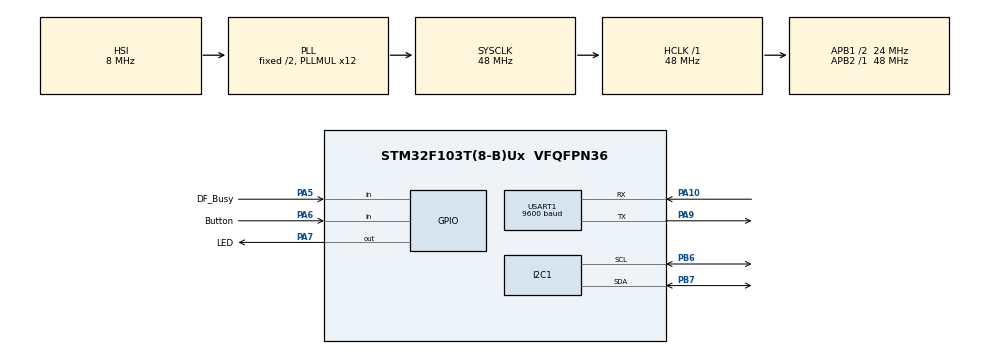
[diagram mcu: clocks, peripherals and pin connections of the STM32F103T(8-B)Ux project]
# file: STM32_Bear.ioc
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I2C1.I2C_Mode=I2C_Fast
Mcu.Family=STM32F1
Mcu.Name=STM32F103T(8-B)Ux
Mcu.Package=VFQFPN36
NVIC.I2C1_EV_IRQn=true\:0\:0\:false\:false\:true\:true\:true
NVIC.PriorityGroup=NVIC_PRIORITYGROUP_4
NVIC.USART1_IRQn=true\:0\:0\:false\:false\:true\:true\:true
PA10.Mode=Asynchronous
PA10.Signal=USART1_RX
PA13.Mode=Serial_Wire
PA13.Signal=SYS_JTMS-SWDIO
PA14.Mode=Serial_Wire
PA14.Signal=SYS_JTCK-SWCLK
PA5.GPIO_Label=DF_Busy
PA5.GPIO_PuPd=GPIO_PULLDOWN
PA5.Signal=GPIO_Input
PA6.GPIO_Label=Button
PA6.GPIO_PuPd=GPIO_PULLUP
PA6.Signal=GPIO_Input
PA7.GPIO_Label=LED
PA7.Signal=GPIO_Output
PA9.Mode=Asynchronous
PA9.Signal=USART1_TX
PB6.GPIO_Pu=GPIO_PULLUP
PB6.Mode=I2C
PB6.Signal=I2C1_SCL
PB7.GPIO_Pu=GPIO_PULLUP
PB7.Mode=I2C
PB7.Signal=I2C1_SDA
ProjectManager.HeapSize=0x200
ProjectManager.StackSize=0x400
ProjectManager.TargetToolchain=STM32CubeIDE
RCC.AHBFreq_Value=48000000
RCC.APB1CLKDivider=RCC_HCLK_DIV2
RCC.APB1Freq_Value=24000000
RCC.APB1TimFreq_Value=48000000
RCC.APB2Freq_Value=48000000
RCC.APB2TimFreq_Value=48000000
RCC.HCLKFreq_Value=48000000
RCC.PLLMUL=RCC_PLL_MUL12
RCC.SYSCLKFreq_VALUE=48000000
RCC.SYSCLKSource=RCC_SYSCLKSOURCE_PLLCLK
RCC.USBFreq_Value=48000000
USART1.BaudRate=9600
USART1.VirtualMode=VM_ASYNC
board=custom

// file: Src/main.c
/* USER CODE BEGIN Header */
/**
  ******************************************************************************
  * @file           : main.c
  * @brief          : Main program body
  ******************************************************************************
  * @attention
  *
  * <h2><center>&copy; Copyright (c) 2020 STMicroelectronics.
  * All rights reserved.</center></h2>
  *
  * This software component is licensed by ST under BSD 3-Clause license,
  * the "License"; You may not use this file except in compliance with the
  * License. You may obtain a copy of the License at:
  *                        opensource.org/licenses/BSD-3-Clause
  *
  ******************************************************************************
  */
/* USER CODE END Header */
#include "main.h"

/* USER CODE BEGIN Includes */
#include <BME280.h>
#include <stdint.h>
#include <stdio.h>
#include <string.h>
#include "I2Cdev.h"
#include "BMP085.h"
#include "dfplayer.h"
#include "stm32f1xx_it.h"
#include "bmp280.h"
#include "FLASH_PAGE_F1.h"
/* USER CODE END Includes */

/* USER CODE BEGIN PD */
#define LED_ON()            SET_BIT(GPIOA->ODR, GPIO_ODR_ODR7)
#define LED_OFF()           CLEAR_BIT(GPIOA->ODR, GPIO_ODR_ODR7)

#define PRESSURE_DELTA_BMP085 150
#define PRESSURE_DELTA_BMP280 150
/* USER CODE END PD */

I2C_HandleTypeDef hi2c1;

UART_HandleTypeDef huart1;

/* USER CODE BEGIN PV */
BMP280_HandleTypedef bmp280;

uint8_t minute_global;
float pressure, temperature, humidity, init_preasure;
uint8_t touch_counter;
uint8_t mp3_number = 1;
char i2c_ports[128];
float delta = 0;

bool error = false;

HAL_StatusTypeDef result;
/* USER CODE END PV */

void SystemClock_Config(void);
static void MX_GPIO_Init(void);
static void MX_I2C1_Init(void);
static void MX_USART1_UART_Init(void);

/* USER CODE BEGIN 0 */
void check_rx()
{
    if(READ_BIT(USART1->SR, USART_SR_ORE))
    {
        (void) USART1->DR;
    }
    else if(READ_BIT(USART1->SR, USART_SR_FE))
    {
        (void) USART1->DR;
    }
    else if(READ_BIT(USART1->SR, USART_SR_ORE))
    {
        (void) USART1->DR;
    }
}

void status_led(uint8_t sensor)
{
    switch (sensor) {
        case 1:
            //HAL_GPIO_WritePin(GPIOA, LED_Pin, GPIO_PIN_SET);
            for(int i = 0; i<=1; i++)
            {
                LED_ON();
                HAL_Delay(500);
                LED_OFF();
                HAL_Delay(500);
            }
            break;

        case 2:
            for(int i = 0; i<=2; i++)
            {
                LED_ON();
                HAL_Delay(500);
                LED_OFF();
                HAL_Delay(500);
            }
            break;

        case 3:
            while (error)
            {
                LED_ON();
                HAL_Delay(100);
                LED_OFF();
                HAL_Delay(100);
            }
    }
}

void i2c_scanner(char buffer[])
{
	memset(i2c_ports, 0, 4);
	for (int i=1; i<128; i++)
	{
		char test[128];
 	  /*
 	   * the HAL wants a left aligned i2c address
 	   * &hi2c1 is the handle
 	   * (uint16_t)(i<<1) is the i2c address left aligned
 	   * retries 2
 	   * timeout 2
 	   */
		result = HAL_I2C_IsDeviceReady(&hi2c1, (uint16_t)(i<<1), 2, 2);
		if (result == HAL_OK)
		{
			//printf("0x%X", i); // Received an ACK at that address
			sprintf(test, "0x%X ", i);
			strcat(buffer, test);
		}
	}
}

float get_pressure()
{
    float pressure_sensor;
    if(i2c_ports[2] == '7' && i2c_ports[3] == '6')
    {
        pressure_sensor = BME280_ReadPressure();
        HAL_Delay(200);
    }
    if(i2c_ports[2] == '7' && i2c_ports[3] == '7')
    {
        BMP085_setControl(BMP085_MODE_PRESSURE_3);
        HAL_Delay(BMP085_getMeasureDelayMilliseconds(BMP085_MODE_PRESSURE_3));
        pressure_sensor = BMP085_getPressure();
        HAL_Delay(200);
    }
    return pressure_sensor;
}

void pressure_sensor_INIT()
{
    if(i2c_ports[2] == '7' && i2c_ports[3] == '6')
    {
        status_led(1);
        bmp280_init_default_params(&bmp280.params);
        bmp280.addr = BMP280_I2C_ADDRESS_0;
        bmp280.i2c = &hi2c1;
        bool bme280p = bmp280.id == BME280_CHIP_ID;
        BME280_Init();
        HAL_Delay(200);
    }

    if(i2c_ports[2] == '7' && i2c_ports[3] == '7')
    {
        status_led(2);
        I2Cdev_init(&hi2c1);
        while(!BMP085_testConnection());
        BMP085_initialize();
        HAL_Delay(200);
    }

    if(i2c_ports[2] == 0 && i2c_ports[3] == 0)
    {
        error = true;
        status_led(3);
    }
}

void presure_delta_calibration()
{
    HAL_Delay(1000);
    if(!READ_BIT(GPIOA->IDR, GPIO_IDR_IDR6))
    {
        LED_ON();
        while(!READ_BIT(GPIOA->IDR, GPIO_IDR_IDR6)){ HAL_Delay(100);}
        HAL_Delay(1000);
        float measurment_one = get_pressure();
        while(READ_BIT(GPIOA->IDR, GPIO_IDR_IDR6)){ HAL_Delay(100);}
        LED_OFF();
        HAL_Delay(1000);
        LED_ON();
        float measurment_second = get_pressure();
        float delta = measurment_second - measurment_one;

        if(delta<0)
        {
            error = true;
            status_led(3);
        }

        Flash_Write_NUM(0x0800A000, delta);
        for(int i = 0; i<=2; i++)
        {
            LED_OFF();
            HAL_Delay(100);
            LED_ON();
        }
        HAL_Delay(100);
        LED_OFF();

    }
}
/* USER CODE END 0 */

int main(void)
{
  /* USER CODE BEGIN 1 */
  SysTick_Config(SystemCoreClock/48000000);
  /* USER CODE END 1 */

  /* MCU Configuration--------------------------------------------------------*/

  /* Reset of all peripherals, Initializes the Flash interface and the Systick. */
  HAL_Init();

  /* Configure the system clock */
  SystemClock_Config();

  /* Initialize all configured peripherals */
  MX_GPIO_Init();
  MX_I2C1_Init();
  MX_USART1_UART_Init();
  /* USER CODE BEGIN 2 */
  i2c_scanner(i2c_ports);   // Scan i2c ports
  pressure_sensor_INIT();         // Check sensor type
  presure_delta_calibration();
  delta = Flash_Read_NUM(0x0800A000);
  //delta = 150;
  init_preasure = get_pressure();
  DF_Init(30);             // Set Volume
  DF_MP3_Play(16);      // Play start music

  /* USER CODE END 2 */

  /* Infinite loop */
  while (1)
  {

    /* USER CODE BEGIN 3 */
      check_rx();
      pressure = get_pressure();

      if(pressure-init_preasure>=delta)
      {
          DF_MP3_Play(mp3_number);
          mp3_number++;
          touch_counter++;
      }

      if(mp3_number==15){mp3_number=0;}

      while(touch_counter>=5)
      {
          for(int i = 0; i<=10; i++)
          {
              LED_ON();
              HAL_Delay(50);
              LED_OFF();
              HAL_Delay(50);
          }
          init_preasure = get_pressure();
          touch_counter = 0;
      }

      if (pressure - init_preasure <= 0)
      {
          HAL_Delay(100);
          init_preasure = get_pressure(); // Get Pressure
          touch_counter = 0;
      }
      HAL_Delay(200);
      //DF_MP3_Play(2);
  }
  /* USER CODE END 3 */
}

void SystemClock_Config(void)
{
  RCC_OscInitTypeDef RCC_OscInitStruct = {0};
  RCC_ClkInitTypeDef RCC_ClkInitStruct = {0};

  /** Initializes the RCC Oscillators according to the specified parameters
  * in the RCC_OscInitTypeDef structure.
  */
  RCC_OscInitStruct.OscillatorType = RCC_OSCILLATORTYPE_HSI;
  RCC_OscInitStruct.HSIState = RCC_HSI_ON;
  RCC_OscInitStruct.HSICalibrationValue = RCC_HSICALIBRATION_DEFAULT;
  RCC_OscInitStruct.PLL.PLLState = RCC_PLL_ON;
  RCC_OscInitStruct.PLL.PLLSource = RCC_PLLSOURCE_HSI_DIV2;
  RCC_OscInitStruct.PLL.PLLMUL = RCC_PLL_MUL12;
  if (HAL_RCC_OscConfig(&RCC_OscInitStruct) != HAL_OK)
  {
    Error_Handler();
  }
  /** Initializes the CPU, AHB and APB buses clocks
  */
  RCC_ClkInitStruct.ClockType = RCC_CLOCKTYPE_HCLK|RCC_CLOCKTYPE_SYSCLK
                              |RCC_CLOCKTYPE_PCLK1|RCC_CLOCKTYPE_PCLK2;
  RCC_ClkInitStruct.SYSCLKSource = RCC_SYSCLKSOURCE_PLLCLK;
  RCC_ClkInitStruct.AHBCLKDivider = RCC_SYSCLK_DIV1;
  RCC_ClkInitStruct.APB1CLKDivider = RCC_HCLK_DIV2;
  RCC_ClkInitStruct.APB2CLKDivider = RCC_HCLK_DIV1;

  if (HAL_RCC_ClockConfig(&RCC_ClkInitStruct, FLASH_LATENCY_1) != HAL_OK)
  {
    Error_Handler();
  }
}

static void MX_I2C1_Init(void)
{

  hi2c1.Instance = I2C1;
  hi2c1.Init.ClockSpeed = 400000;
  hi2c1.Init.DutyCycle = I2C_DUTYCYCLE_2;
  hi2c1.Init.OwnAddress1 = 0;
  hi2c1.Init.AddressingMode = I2C_ADDRESSINGMODE_7BIT;
  hi2c1.Init.DualAddressMode = I2C_DUALADDRESS_DISABLE;
  hi2c1.Init.OwnAddress2 = 0;
  hi2c1.Init.GeneralCallMode = I2C_GENERALCALL_DISABLE;
  hi2c1.Init.NoStretchMode = I2C_NOSTRETCH_DISABLE;
  if (HAL_I2C_Init(&hi2c1) != HAL_OK)
  {
    Error_Handler();
  }

}

static void MX_USART1_UART_Init(void)
{

  huart1.Instance = USART1;
  huart1.Init.BaudRate = 9600;
  huart1.Init.WordLength = UART_WORDLENGTH_8B;
  huart1.Init.StopBits = UART_STOPBITS_1;
  huart1.Init.Parity = UART_PARITY_NONE;
  huart1.Init.Mode = UART_MODE_TX_RX;
  huart1.Init.HwFlowCtl = UART_HWCONTROL_NONE;
  huart1.Init.OverSampling = UART_OVERSAMPLING_16;
  if (HAL_UART_Init(&huart1) != HAL_OK)
  {
    Error_Handler();
  }

}

static void MX_GPIO_Init(void)
{
  GPIO_InitTypeDef GPIO_InitStruct = {0};

  /* GPIO Ports Clock Enable */
  __HAL_RCC_GPIOA_CLK_ENABLE();
  __HAL_RCC_GPIOB_CLK_ENABLE();

  /*Configure GPIO pin Output Level */
  HAL_GPIO_WritePin(LED_GPIO_Port, LED_Pin, GPIO_PIN_RESET);

  /*Configure GPIO pin : DF_Busy_Pin */
  GPIO_InitStruct.Pin = DF_Busy_Pin;
  GPIO_InitStruct.Mode = GPIO_MODE_INPUT;
  GPIO_InitStruct.Pull = GPIO_PULLDOWN;
  HAL_GPIO_Init(DF_Busy_GPIO_Port, &GPIO_InitStruct);

  /*Configure GPIO pin : Button_Pin */
  GPIO_InitStruct.Pin = Button_Pin;
  GPIO_InitStruct.Mode = GPIO_MODE_INPUT;
  GPIO_InitStruct.Pull = GPIO_PULLUP;
  HAL_GPIO_Init(Button_GPIO_Port, &GPIO_InitStruct);

  /*Configure GPIO pin : LED_Pin */
  GPIO_InitStruct.Pin = LED_Pin;
  GPIO_InitStruct.Mode = GPIO_MODE_OUTPUT_PP;
  GPIO_InitStruct.Pull = GPIO_NOPULL;
  GPIO_InitStruct.Speed = GPIO_SPEED_FREQ_LOW;
  HAL_GPIO_Init(LED_GPIO_Port, &GPIO_InitStruct);

}

void Error_Handler(void)
{
}

#pragma clang diagnostic pop
